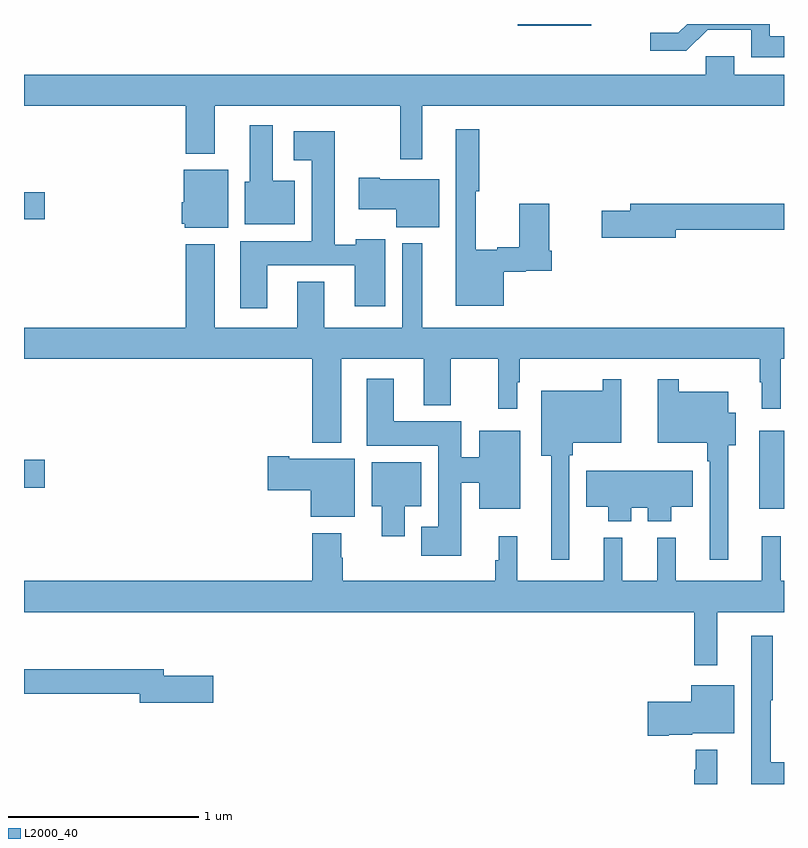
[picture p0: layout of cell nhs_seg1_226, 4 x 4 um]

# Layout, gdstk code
import gdstk
lib = gdstk.Library(unit=1e-6, precision=1e-09)
def R(c, l, rs):  # rectangles x0, y0, x1, y1
    for r in rs: c.add(gdstk.rectangle(r[:2], r[2:], *l))
def P(c, l, *ps):  # polygons
    for p in ps: c.add(gdstk.Polygon(p, *l))
L2000_40 = (2000, 40)

nhs_seg1_226 = lib.new_cell('nhs_seg1_226')
R(nhs_seg1_226, L2000_40, [(126.869,513.647,127,514.057), (123,513.758,123.109,513.905), (123,515.171,123.109,515.313), (125.598,516.191,125.986,516.199)])
P(nhs_seg1_226, L2000_40, [(127,516.134),(126.924,516.134),(126.924,516.199),(126.49,516.199),(126.444,516.153),(126.297,516.153),(126.297,516.057),(126.486,516.057),(126.599,516.17),(126.828,516.17),(126.828,516.024),(127,516.024)],
  [(125.095,515.768),(127,515.768),(127,515.932),(126.739,515.932),(126.739,516.03),(126.588,516.03),(126.588,515.932),(123,515.932),(123,515.768),(123.851,515.768),(123.851,515.516),(124.003,515.516),(124.003,515.768),(124.981,515.768),(124.981,515.487),(125.095,515.487)],
  [(124.426,515.374),(124.309,515.374),(124.309,515.665),(124.187,515.665),(124.187,515.37),(124.163,515.37),(124.163,515.144),(124.426,515.144)],
  [(125.524,514.894),(125.64,514.894),(125.64,514.901),(125.777,514.901),(125.777,515.005),(125.764,515.005),(125.764,515.254),(125.606,515.254),(125.606,515.024),(125.492,515.024),(125.492,515.011),(125.377,515.011),(125.377,515.319),(125.395,515.319),(125.395,515.644),(125.273,515.644),(125.273,514.715),(125.524,514.715)],
  [(124.279,514.928),(124.742,514.928),(124.742,514.713),(124.9,514.713),(124.9,515.065),(124.746,515.065),(124.746,515.038),(124.636,515.038),(124.636,515.635),(124.419,515.635),(124.419,515.483),(124.514,515.483),(124.514,515.056),(124.139,515.056),(124.139,514.704),(124.279,514.704)],
  [(124.075,515.431),(123.842,515.431),(123.842,515.262),(123.83,515.262),(123.83,515.148),(123.846,515.148),(123.846,515.126),(124.075,515.126)],
  [(125.185,515.383),(124.873,515.383),(124.873,515.391),(124.761,515.391),(124.761,515.225),(124.958,515.225),(124.958,515.129),(125.185,515.129)],
  [(126.43,515.116),(127,515.116),(127,515.252),(126.191,515.252),(126.191,515.216),(126.042,515.216),(126.042,515.074),(126.43,515.074)],
  [(124.669,514.436),(125.105,514.436),(125.105,514.193),(125.245,514.193),(125.245,514.436),(125.497,514.436),(125.497,514.173),(125.595,514.173),(125.595,514.313),(125.608,514.313),(125.608,514.436),(126.873,514.436),(126.873,514.313),(126.884,514.313),(126.884,514.173),(126.983,514.173),(126.983,514.436),(127,514.436),(127,514.6),(125.095,514.6),(125.095,515.044),(124.991,515.044),(124.991,514.6),(124.579,514.6),(124.579,514.843),(124.439,514.843),(124.439,514.6),(124.003,514.6),(124.003,515.041),(123.851,515.041),(123.851,514.6),(123,514.6),(123,514.436),(124.517,514.436),(124.517,513.995),(124.669,513.995)],
  [(125.302,513.784),(125.396,513.784),(125.396,513.647),(125.611,513.647),(125.611,514.057),(125.396,514.057),(125.396,513.92),(125.302,513.92),(125.302,514.108),(124.945,514.108),(124.945,514.333),(124.805,514.333),(124.805,513.98),(125.18,513.98),(125.18,513.553),(125.09,513.553),(125.09,513.401),(125.302,513.401)],
  [(125.871,513.93),(125.889,513.93),(125.889,513.995),(126.144,513.995),(126.144,514.33),(126.047,514.33),(126.047,514.27),(125.723,514.27),(125.723,513.926),(125.774,513.926),(125.774,513.378),(125.871,513.378)],
  [(126.706,513.983),(126.745,513.983),(126.745,514.153),(126.706,514.153),(126.706,514.264),(126.445,514.264),(126.445,514.33),(126.336,514.33),(126.336,513.995),(126.597,513.995),(126.597,513.899),(126.609,513.899),(126.609,513.378),(126.706,513.378)],
  [(124.741,513.91),(124.396,513.91),(124.396,513.923),(124.284,513.923),(124.284,513.745),(124.508,513.745),(124.508,513.605),(124.741,513.605)],
  [(125.005,513.662),(125.092,513.662),(125.092,513.892),(124.829,513.892),(124.829,513.662),(124.883,513.662),(124.883,513.504),(125.005,513.504)],
  [(126.196,513.652),(126.284,513.652),(126.284,513.581),(126.406,513.581),(126.406,513.659),(126.52,513.659),(126.52,513.847),(125.96,513.847),(125.96,513.659),(126.074,513.659),(126.074,513.581),(126.196,513.581)],
  [(126.649,513.104),(127,513.104),(127,513.268),(126.983,513.268),(126.983,513.502),(126.884,513.502),(126.884,513.268),(126.431,513.268),(126.431,513.496),(126.332,513.496),(126.332,513.268),(126.149,513.268),(126.149,513.496),(126.05,513.496),(126.05,513.268),(125.597,513.268),(125.597,513.502),(125.498,513.502),(125.498,513.377),(125.479,513.377),(125.479,513.268),(124.677,513.268),(124.677,513.389),(124.669,513.389),(124.669,513.52),(124.517,513.52),(124.517,513.268),(123,513.268),(123,513.104),(126.528,513.104),(126.528,512.823),(126.649,512.823)],
  [(127,512.314),(126.931,512.314),(126.931,512.639),(126.941,512.639),(126.941,512.98),(126.827,512.98),(126.827,512.199),(127,512.199)],
  [(123.997,512.769),(123.736,512.769),(123.736,512.803),(123,512.803),(123,512.674),(123.608,512.674),(123.608,512.627),(123.997,512.627)],
  [(126.394,512.459),(126.516,512.459),(126.516,512.465),(126.739,512.465),(126.739,512.719),(126.512,512.719),(126.512,512.631),(126.282,512.631),(126.282,512.453),(126.394,512.453)],
  [(126.649,512.38),(126.535,512.38),(126.535,512.273),(126.528,512.273),(126.528,512.199),(126.649,512.199)])

lib.write_gds('nhs_seg1_226.gds')
